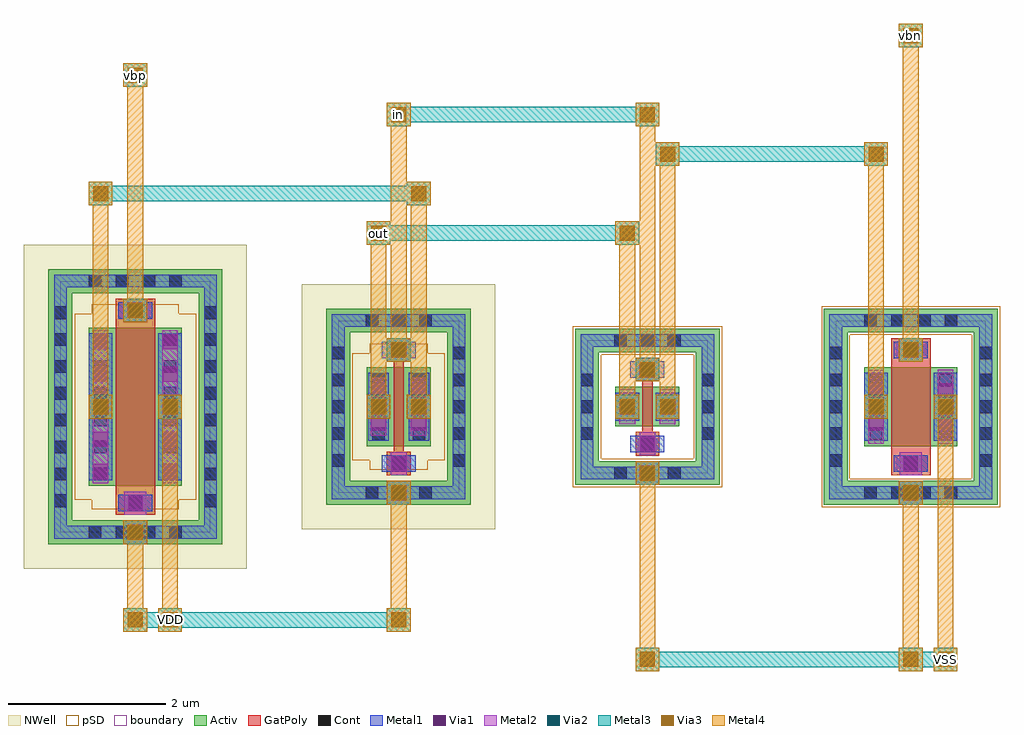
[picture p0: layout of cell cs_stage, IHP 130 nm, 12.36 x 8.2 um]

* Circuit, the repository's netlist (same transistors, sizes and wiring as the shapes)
** SPDX-FileCopyrightText: 2026 Davide Schiavone
** SPDX-License-Identifier: Apache-2.0 WITH SHL-2.1
**
** One current-starved inverter stage — standalone LVS reference for the layout leaf
** cell macros/ring_oscillator/layout/cs_stage.gds. Identical to the cs_stage subckt in
** ring_oscillator.spice; kept here so `sak-lvs.sh -s cs_stage.spice` can verify the leaf.
**
** Ports:  VDD VSS vbp vbn in out
.subckt cs_stage VDD VSS vbp vbn in out
*.PININFO VDD:B VSS:B vbp:I vbn:I in:I out:O
XMcp pp  vbp VDD VDD sg13_lv_pmos w=2u   l=0.5u  ng=1
XMp  out in  pp  VDD sg13_lv_pmos w=1u   l=0.13u ng=1
XMn  out in  nn  VSS sg13_lv_nmos w=0.5u l=0.13u ng=1
XMcn nn  vbn VSS VSS sg13_lv_nmos w=1u   l=0.5u  ng=1
.ends cs_stage

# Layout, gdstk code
import gdstk
lib = gdstk.Library(unit=1e-6, precision=1e-09)
def R(c, l, rs):  # rectangles x0, y0, x1, y1
    for r in rs: c.add(gdstk.rectangle(r[:2], r[2:], *l))
def A(c, l, x, y, w, h, nx, ny, dx, dy):  # array of equal rectangles
    R(c, l, [(x+i*dx, y+j*dy, x+i*dx+w, y+j*dy+h) for i in range(nx) for j in range(ny)])
Activ = (1, 0)
GatPoly = (5, 0)
Cont = (6, 0)
Metal1 = (8, 0)
Metal2 = (10, 0)
pSD = (14, 0)
Via1 = (19, 0)
Via2 = (29, 0)
Metal3 = (30, 0)
NWell = (31, 0)
Via3 = (49, 0)
Metal4 = (50, 0)
boundary = (189, 4)

sg13_lv_nmos_9r8nqu = lib.new_cell('sg13_lv_nmos_9R8NQU')
R(sg13_lv_nmos_9r8nqu, Activ, [(-1.1,-1.24,1.1,-0.94), (-1.1,-0.94,-0.8,0.94), (0.8,-0.94,1.1,0.94), (-0.59,-0.5,0.59,0.5), (-1.1,0.94,1.1,1.24)])
R(sg13_lv_nmos_9r8nqu, GatPoly, [(-0.25,-0.87,0.25,0.87)])
A(sg13_lv_nmos_9r8nqu, Cont, -0.59, -1.17, 0.16, 0.16, 4, 2, 0.34, 2.18)
A(sg13_lv_nmos_9r8nqu, Cont, -1.03, -0.76, 0.16, 0.16, 1, 5, 0, 0.34)
A(sg13_lv_nmos_9r8nqu, Cont, 0.87, -0.76, 0.16, 0.16, 1, 5, 0, 0.34)
A(sg13_lv_nmos_9r8nqu, Cont, -0.52, -0.42, 0.16, 0.16, 1, 3, 0, 0.34)
A(sg13_lv_nmos_9r8nqu, Cont, 0.36, -0.42, 0.16, 0.16, 1, 3, 0, 0.34)
R(sg13_lv_nmos_9r8nqu, Cont, [(-0.08,-0.8,0.08,-0.64), (-0.08,0.64,0.08,0.8)])
R(sg13_lv_nmos_9r8nqu, Metal1, [(-1.03,-1.17,1.03,-1.01), (-1.03,-1.01,-0.87,1.01), (0.87,-1.01,1.03,1.01), (-0.215,-0.825,0.215,-0.615), (-0.59,-0.43,-0.29,0.43), (0.29,-0.43,0.59,0.43), (-0.215,0.615,0.215,0.825), (-1.03,1.01,1.03,1.17)])
R(sg13_lv_nmos_9r8nqu, Metal2, [(-0.14,-0.865,0.14,-0.575), (-0.54,-0.47,-0.34,0.47), (0.34,-0.47,0.54,0.47), (-0.14,0.575,0.14,0.865)])
R(sg13_lv_nmos_9r8nqu, pSD, [(-1.13,-1.27,1.13,-0.91), (-1.13,-0.91,-0.77,0.91), (0.77,-0.91,1.13,0.91), (-1.13,0.91,1.13,1.27)])
R(sg13_lv_nmos_9r8nqu, Via1, [(-0.095,-0.815,0.095,-0.625), (-0.535,-0.3,-0.345,-0.11), (0.345,-0.3,0.535,-0.11), (-0.535,0.11,-0.345,0.3), (0.345,0.11,0.535,0.3), (-0.095,0.625,0.095,0.815)])
R(sg13_lv_nmos_9r8nqu, boundary, [(-0.95,-1.09,0.95,1.09)])
sg13_lv_nmos_9r8nqu.add(gdstk.Label('B', (0,-1.09), layer=8, texttype=25))
sg13_lv_nmos_9r8nqu.add(gdstk.Label('D', (-0.44,0), layer=8, texttype=25))
sg13_lv_nmos_9r8nqu.add(gdstk.Label('S', (0.44,0), layer=8, texttype=25))
sg13_lv_nmos_9r8nqu.add(gdstk.Label('G', (0,0.72), layer=8, texttype=25))

sg13_lv_nmos_gclu96 = lib.new_cell('sg13_lv_nmos_GCLU96')
R(sg13_lv_nmos_gclu96, Activ, [(-0.915,-0.99,0.915,-0.69), (-0.915,-0.69,-0.615,0.69), (0.615,-0.69,0.915,0.69), (-0.405,-0.25,0.405,0.25), (-0.915,0.69,0.915,0.99)])
R(sg13_lv_nmos_gclu96, GatPoly, [(-0.15,-0.62,0.15,-0.32), (-0.065,-0.32,0.065,0.32), (-0.15,0.32,0.15,0.62)])
A(sg13_lv_nmos_gclu96, Cont, -0.42, -0.92, 0.16, 0.16, 3, 2, 0.34, 1.68)
A(sg13_lv_nmos_gclu96, Cont, -0.845, -0.08, 0.16, 0.16, 4, 1, 0.51, 0)
R(sg13_lv_nmos_gclu96, Cont, [(-0.08,-0.55,0.08,-0.39), (-0.845,-0.42,-0.685,-0.26), (0.685,-0.42,0.845,-0.26), (-0.845,0.26,-0.685,0.42), (0.685,0.26,0.845,0.42), (-0.08,0.39,0.08,0.55)])
R(sg13_lv_nmos_gclu96, Metal1, [(-0.845,-0.92,0.845,-0.76), (-0.845,-0.76,-0.685,0.76), (0.685,-0.76,0.845,0.76), (-0.215,-0.575,0.215,-0.365), (-0.405,-0.18,-0.105,0.18), (0.105,-0.18,0.405,0.18), (-0.215,0.365,0.215,0.575), (-0.845,0.76,0.845,0.92)])
R(sg13_lv_nmos_gclu96, Metal2, [(-0.1,-0.615,0.1,-0.325), (-0.355,-0.22,-0.155,0.22), (0.155,-0.22,0.355,0.22), (-0.1,0.325,0.1,0.615)])
R(sg13_lv_nmos_gclu96, pSD, [(-0.945,-1.02,0.945,-0.66), (-0.945,-0.66,-0.585,0.66), (0.585,-0.66,0.945,0.66), (-0.945,0.66,0.945,1.02)])
R(sg13_lv_nmos_gclu96, Via1, [(-0.095,-0.565,0.095,-0.375), (-0.35,-0.095,-0.16,0.095), (0.16,-0.095,0.35,0.095), (-0.095,0.375,0.095,0.565)])
R(sg13_lv_nmos_gclu96, boundary, [(-0.765,-0.84,0.765,0.84)])
sg13_lv_nmos_gclu96.add(gdstk.Label('B', (0,-0.84), layer=8, texttype=25))
sg13_lv_nmos_gclu96.add(gdstk.Label('D', (-0.255,0), layer=8, texttype=25))
sg13_lv_nmos_gclu96.add(gdstk.Label('S', (0.255,0), layer=8, texttype=25))
sg13_lv_nmos_gclu96.add(gdstk.Label('G', (0,0.47), layer=8, texttype=25))

sg13_lv_pmos_2m8tcd = lib.new_cell('sg13_lv_pmos_2M8TCD')
R(sg13_lv_pmos_2m8tcd, Activ, [(-0.915,-1.24,0.915,-0.94), (-0.915,-0.94,-0.615,0.94), (0.615,-0.94,0.915,0.94), (-0.405,-0.5,0.405,0.5), (-0.915,0.94,0.915,1.24)])
R(sg13_lv_pmos_2m8tcd, GatPoly, [(-0.15,-0.87,0.15,-0.57), (-0.065,-0.57,0.065,0.57), (-0.15,0.57,0.15,0.87)])
A(sg13_lv_pmos_2m8tcd, Cont, -0.42, -1.17, 0.16, 0.16, 3, 2, 0.34, 2.18)
A(sg13_lv_pmos_2m8tcd, Cont, -0.845, -0.42, 0.16, 0.16, 4, 3, 0.51, 0.34)
R(sg13_lv_pmos_2m8tcd, Cont, [(-0.08,-0.8,0.08,-0.64), (-0.845,-0.76,-0.685,-0.6), (0.685,-0.76,0.845,-0.6), (-0.845,0.6,-0.685,0.76), (0.685,0.6,0.845,0.76), (-0.08,0.64,0.08,0.8)])
R(sg13_lv_pmos_2m8tcd, Metal1, [(-0.845,-1.17,0.845,-1.01), (-0.845,-1.01,-0.685,1.01), (0.685,-1.01,0.845,1.01), (-0.215,-0.825,0.215,-0.615), (-0.385,-0.43,-0.125,0.43), (0.125,-0.43,0.385,0.43), (-0.215,0.615,0.215,0.825), (-0.845,1.01,0.845,1.17)])
R(sg13_lv_pmos_2m8tcd, Metal2, [(-0.1,-0.865,0.1,-0.575), (-0.355,-0.365,-0.155,0.365), (0.155,-0.365,0.355,0.365), (-0.1,0.575,0.1,0.865)])
R(sg13_lv_pmos_2m8tcd, pSD, [(-0.365,-0.8,0.365,-0.68), (-0.585,-0.68,0.585,0.68), (-0.365,0.68,0.365,0.8)])
R(sg13_lv_pmos_2m8tcd, Via1, [(-0.095,-0.815,0.095,-0.625), (-0.35,-0.3,-0.16,-0.11), (0.16,-0.3,0.35,-0.11), (-0.35,0.11,-0.16,0.3), (0.16,0.11,0.35,0.3), (-0.095,0.625,0.095,0.815)])
R(sg13_lv_pmos_2m8tcd, NWell, [(-1.225,-1.55,1.225,1.55)])
R(sg13_lv_pmos_2m8tcd, boundary, [(-0.765,-1.09,0.765,1.09)])
sg13_lv_pmos_2m8tcd.add(gdstk.Label('B', (0,-1.09), layer=8, texttype=25))
sg13_lv_pmos_2m8tcd.add(gdstk.Label('D', (-0.255,0), layer=8, texttype=25))
sg13_lv_pmos_2m8tcd.add(gdstk.Label('S', (0.255,0), layer=8, texttype=25))
sg13_lv_pmos_2m8tcd.add(gdstk.Label('G', (0,0.72), layer=8, texttype=25))

sg13_lv_pmos_65lepc = lib.new_cell('sg13_lv_pmos_65LEPC')
R(sg13_lv_pmos_65lepc, Activ, [(-1.1,-1.74,1.1,-1.44), (-1.1,-1.44,-0.8,1.44), (0.8,-1.44,1.1,1.44), (-0.59,-1,0.59,1), (-1.1,1.44,1.1,1.74)])
R(sg13_lv_pmos_65lepc, GatPoly, [(-0.25,-1.37,0.25,1.37)])
A(sg13_lv_pmos_65lepc, Cont, -0.59, -1.67, 0.16, 0.16, 4, 2, 0.34, 3.18)
A(sg13_lv_pmos_65lepc, Cont, -1.03, -1.27, 0.16, 0.16, 1, 8, 0, 0.34)
A(sg13_lv_pmos_65lepc, Cont, 0.87, -1.27, 0.16, 0.16, 1, 8, 0, 0.34)
A(sg13_lv_pmos_65lepc, Cont, -0.52, -0.93, 0.16, 0.16, 1, 6, 0, 0.34)
A(sg13_lv_pmos_65lepc, Cont, 0.36, -0.93, 0.16, 0.16, 1, 6, 0, 0.34)
R(sg13_lv_pmos_65lepc, Cont, [(-0.08,-1.3,0.08,-1.14), (-0.08,1.14,0.08,1.3)])
R(sg13_lv_pmos_65lepc, Metal1, [(-1.03,-1.67,1.03,-1.51), (-1.03,-1.51,-0.87,1.51), (0.87,-1.51,1.03,1.51), (-0.215,-1.325,0.215,-1.115), (-0.59,-0.93,-0.29,0.93), (0.29,-0.93,0.59,0.93), (-0.215,1.115,0.215,1.325), (-1.03,1.51,1.03,1.67)])
R(sg13_lv_pmos_65lepc, Metal2, [(-0.14,-1.365,0.14,-1.075), (-0.54,-0.97,-0.34,0.97), (0.34,-0.97,0.54,0.97), (-0.14,1.075,0.14,1.365)])
R(sg13_lv_pmos_65lepc, pSD, [(-0.55,-1.3,0.55,-1.18), (-0.77,-1.18,0.77,1.18), (-0.55,1.18,0.55,1.3)])
A(sg13_lv_pmos_65lepc, Via1, -0.535, -0.915, 0.19, 0.19, 1, 5, 0, 0.41)
A(sg13_lv_pmos_65lepc, Via1, 0.345, -0.915, 0.19, 0.19, 1, 5, 0, 0.41)
R(sg13_lv_pmos_65lepc, Via1, [(-0.095,-1.315,0.095,-1.125), (-0.095,1.125,0.095,1.315)])
R(sg13_lv_pmos_65lepc, NWell, [(-1.41,-2.05,1.41,2.05)])
R(sg13_lv_pmos_65lepc, boundary, [(-0.95,-1.59,0.95,1.59)])
sg13_lv_pmos_65lepc.add(gdstk.Label('B', (0,-1.59), layer=8, texttype=25))
sg13_lv_pmos_65lepc.add(gdstk.Label('D', (-0.44,0), layer=8, texttype=25))
sg13_lv_pmos_65lepc.add(gdstk.Label('S', (0.44,0), layer=8, texttype=25))
sg13_lv_pmos_65lepc.add(gdstk.Label('G', (0,1.22), layer=8, texttype=25))

cs_stage = lib.new_cell('cs_stage')
R(cs_stage, Metal1, [(-0.15,-1.74,0.15,-1.44), (3.185,-1.24,3.485,-0.94), (9.67,-1.24,9.97,-0.94), (6.335,-0.99,6.635,-0.69), (-0.59,-0.15,-0.29,0.15), (0.29,-0.15,0.59,0.15), (2.93,-0.15,3.23,0.15), (3.44,-0.15,3.74,0.15), (6.08,-0.15,6.38,0.15), (6.59,-0.15,6.89,0.15), (9.23,-0.15,9.53,0.15), (10.11,-0.15,10.41,0.15), (6.335,0.32,6.635,0.62), (3.185,0.57,3.485,0.87), (9.67,0.57,9.97,0.87), (-0.15,1.07,0.15,1.37)])
R(cs_stage, Metal2, [(-0.15,-1.74,0.15,-1.44), (3.185,-1.24,3.485,-0.94), (9.67,-1.24,9.97,-0.94), (6.335,-0.99,6.635,-0.69), (-0.59,-0.15,-0.29,0.15), (0.29,-0.15,0.59,0.15), (2.93,-0.15,3.23,0.15), (3.44,-0.15,3.74,0.15), (6.08,-0.15,6.38,0.15), (6.59,-0.15,6.89,0.15), (9.23,-0.15,9.53,0.15), (10.11,-0.15,10.41,0.15), (6.335,0.32,6.635,0.62), (3.185,0.57,3.485,0.87), (9.67,0.57,9.97,0.87), (-0.15,1.07,0.15,1.37)])
R(cs_stage, Via1, [(-0.095,-1.685,0.095,-1.495), (3.24,-1.185,3.43,-0.995), (9.725,-1.185,9.915,-0.995), (6.39,-0.935,6.58,-0.745), (-0.535,-0.095,-0.345,0.095), (0.345,-0.095,0.535,0.095), (2.985,-0.095,3.175,0.095), (3.495,-0.095,3.685,0.095), (6.135,-0.095,6.325,0.095), (6.645,-0.095,6.835,0.095), (9.285,-0.095,9.475,0.095), (10.165,-0.095,10.355,0.095), (6.39,0.375,6.58,0.565), (3.24,0.625,3.43,0.815), (9.725,0.625,9.915,0.815), (-0.095,1.125,0.095,1.315)])
R(cs_stage, Via2, [(-0.095,-1.685,0.095,-1.495), (3.24,-1.185,3.43,-0.995), (9.725,-1.185,9.915,-0.995), (6.39,-0.935,6.58,-0.745), (-0.535,-0.095,-0.345,0.095), (0.345,-0.095,0.535,0.095), (2.985,-0.095,3.175,0.095), (3.495,-0.095,3.685,0.095), (6.135,-0.095,6.325,0.095), (6.645,-0.095,6.835,0.095), (9.285,-0.095,9.475,0.095), (10.165,-0.095,10.355,0.095), (6.39,0.375,6.58,0.565), (3.24,0.625,3.43,0.815), (9.725,0.625,9.915,0.815), (-0.095,1.125,0.095,1.315)])
R(cs_stage, Metal3, [(6.335,-3.35,6.635,-3.3), (9.67,-3.35,9.97,-3.3), (10.11,-3.35,10.41,-3.3), (6.335,-3.3,10.41,-3.1), (6.335,-3.1,6.635,-3.05), (9.67,-3.1,9.97,-3.05), (10.11,-3.1,10.41,-3.05), (-0.15,-2.85,0.15,-2.8), (0.29,-2.85,0.59,-2.8), (3.185,-2.85,3.485,-2.8), (-0.15,-2.8,3.485,-2.6), (-0.15,-2.6,0.15,-2.55), (0.29,-2.6,0.59,-2.55), (3.185,-2.6,3.485,-2.55), (-0.15,-1.74,0.15,-1.44), (3.185,-1.24,3.485,-0.94), (9.67,-1.24,9.97,-0.94), (6.335,-0.99,6.635,-0.69), (-0.59,-0.15,-0.29,0.15), (0.29,-0.15,0.59,0.15), (2.93,-0.15,3.23,0.15), (3.44,-0.15,3.74,0.15), (6.08,-0.15,6.38,0.15), (6.59,-0.15,6.89,0.15), (9.23,-0.15,9.53,0.15), (10.11,-0.15,10.41,0.15), (6.335,0.32,6.635,0.62), (3.185,0.57,3.485,0.87), (9.67,0.57,9.97,0.87), (-0.15,1.07,0.15,1.37), (2.93,2.05,3.23,2.1), (6.08,2.05,6.38,2.1), (2.93,2.1,6.38,2.3), (2.93,2.3,3.23,2.35), (6.08,2.3,6.38,2.35), (-0.59,2.55,-0.29,2.6), (3.44,2.55,3.74,2.6), (-0.59,2.6,3.74,2.8), (-0.59,2.8,-0.29,2.85), (3.44,2.8,3.74,2.85), (6.59,3.05,6.89,3.1), (9.23,3.05,9.53,3.1), (6.59,3.1,9.53,3.3), (6.59,3.3,6.89,3.35), (9.23,3.3,9.53,3.35), (3.185,3.55,3.485,3.6), (6.335,3.55,6.635,3.6), (3.185,3.6,6.635,3.8), (3.185,3.8,3.485,3.85), (6.335,3.8,6.635,3.85), (-0.15,4.05,0.15,4.35), (9.67,4.55,9.97,4.85)])
R(cs_stage, Via3, [(6.39,-3.295,6.58,-3.105), (9.725,-3.295,9.915,-3.105), (10.165,-3.295,10.355,-3.105), (-0.095,-2.795,0.095,-2.605), (0.345,-2.795,0.535,-2.605), (3.24,-2.795,3.43,-2.605), (-0.095,-1.685,0.095,-1.495), (3.24,-1.185,3.43,-0.995), (9.725,-1.185,9.915,-0.995), (6.39,-0.935,6.58,-0.745), (-0.535,-0.095,-0.345,0.095), (0.345,-0.095,0.535,0.095), (2.985,-0.095,3.175,0.095), (3.495,-0.095,3.685,0.095), (6.135,-0.095,6.325,0.095), (6.645,-0.095,6.835,0.095), (9.285,-0.095,9.475,0.095), (10.165,-0.095,10.355,0.095), (6.39,0.375,6.58,0.565), (3.24,0.625,3.43,0.815), (9.725,0.625,9.915,0.815), (-0.095,1.125,0.095,1.315), (2.985,2.105,3.175,2.295), (6.135,2.105,6.325,2.295), (-0.535,2.605,-0.345,2.795), (3.495,2.605,3.685,2.795), (6.645,3.105,6.835,3.295), (9.285,3.105,9.475,3.295), (3.24,3.605,3.43,3.795), (6.39,3.605,6.58,3.795), (-0.095,4.105,0.095,4.295), (9.725,4.605,9.915,4.795)])
R(cs_stage, Metal4, [(6.335,-3.35,6.635,-3.05), (9.67,-3.35,9.97,-3.05), (10.11,-3.35,10.41,-3.05), (6.385,-3.05,6.585,-0.99), (9.72,-3.05,9.92,-1.24), (10.16,-3.05,10.36,-0.15), (-0.15,-2.85,0.15,-2.55), (0.29,-2.85,0.59,-2.55), (3.185,-2.85,3.485,-2.55), (-0.1,-2.55,0.1,-1.74), (0.34,-2.55,0.54,-0.15), (3.235,-2.55,3.435,-1.24), (-0.15,-1.74,0.15,-1.44), (3.185,-1.24,3.485,-0.94), (9.67,-1.24,9.97,-0.94), (6.335,-0.99,6.635,-0.69), (-0.59,-0.15,-0.29,0.15), (0.29,-0.15,0.59,0.15), (2.93,-0.15,3.23,0.15), (3.44,-0.15,3.74,0.15), (6.08,-0.15,6.38,0.15), (6.59,-0.15,6.89,0.15), (9.23,-0.15,9.53,0.15), (10.11,-0.15,10.41,0.15), (-0.54,0.15,-0.34,2.55), (2.98,0.15,3.18,2.05), (3.49,0.15,3.69,2.55), (6.13,0.15,6.33,2.05), (6.64,0.15,6.84,3.05), (9.28,0.15,9.48,3.05), (6.335,0.32,6.635,0.62), (3.185,0.57,3.485,0.87), (9.67,0.57,9.97,0.87), (6.385,0.62,6.585,3.55), (3.235,0.87,3.435,3.55), (9.72,0.87,9.92,4.55), (-0.15,1.07,0.15,1.37), (-0.1,1.37,0.1,4.05), (2.93,2.05,3.23,2.35), (6.08,2.05,6.38,2.35), (-0.59,2.55,-0.29,2.85), (3.44,2.55,3.74,2.85), (6.59,3.05,6.89,3.35), (9.23,3.05,9.53,3.35), (3.185,3.55,3.485,3.85), (6.335,3.55,6.635,3.85), (-0.15,4.05,0.15,4.35), (9.67,4.55,9.97,4.85)])
cs_stage.add(gdstk.Reference(sg13_lv_nmos_9r8nqu, (9.82,0)))
cs_stage.add(gdstk.Reference(sg13_lv_nmos_gclu96, (6.485,0)))
cs_stage.add(gdstk.Reference(sg13_lv_pmos_2m8tcd, (3.335,0)))
cs_stage.add(gdstk.Reference(sg13_lv_pmos_65lepc, (0,0)))
cs_stage.add(gdstk.Label('out', (3.08,2.2), layer=50, texttype=25))
cs_stage.add(gdstk.Label('in', (3.335,3.7), layer=50, texttype=25))
cs_stage.add(gdstk.Label('vbp', (0,4.2), layer=50, texttype=25))
cs_stage.add(gdstk.Label('vbn', (9.82,4.7), layer=50, texttype=25))
cs_stage.add(gdstk.Label('VDD', (0.44,-2.7), layer=50, texttype=25))
cs_stage.add(gdstk.Label('VSS', (10.26,-3.2), layer=50, texttype=25))

lib.write_gds('cs_stage.gds')
